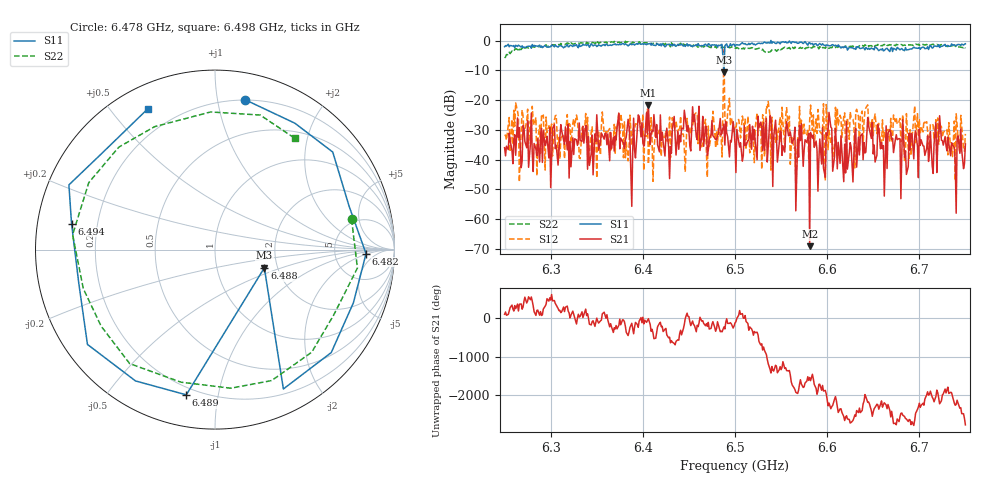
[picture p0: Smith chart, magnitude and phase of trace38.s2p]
# Hz S RI R 50
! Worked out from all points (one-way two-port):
!   401 points, 6.25 GHz to 6.75 GHz, reference 50 ohm
!   highest |S21| = -21.80 dB at 6.406 GHz (marker M1); lowest = -69.2 dB at 6.581 GHz (marker M2)
!   lowest |S11| = -10.7 dB at 6.488 GHz (marker M3), VSWR 1.83, Z = 85.3 - j18.9 ohm
!   |S11| at or under -10 dB: 6.487859 GHz to 6.488074 GHz (214.3 kHz wide, 0.0033 % of centre)
!   |S22| runs from -5.8 to -0.2 dB; largest |S21 - S12| = 0.74
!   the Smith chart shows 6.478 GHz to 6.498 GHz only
!   S11 on the Smith chart (normalised r, x): 6.478 GHz: 0.20, +1.20; 6.482 GHz: 11, -2; 6.488 GHz: 1.71, -0.38; 6.489 GHz: 0.16, -0.81; 6.494 GHz: 0.10, +0.09; 6.498 GHz: 0.10, +0.63
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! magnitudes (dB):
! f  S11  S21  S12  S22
! 6.25 GHz  -2.0  -36.0  -32.0  -5.8
! 6.262 GHz  -1.5  -38.6  -20.9  -2.7
! 6.334 GHz  -1.6  -33.9  -29.4  -0.7
! 6.384 GHz  -1.7  -26.4  -40.5  -0.4
! 6.39 GHz  -1.2  -26.1  -30.7  -0.7
! 6.406 GHz  -1.1  -21.8  -41.6  -0.9
! 6.418 GHz  -1.5  -37.4  -30.0  -1.5
! 6.478 GHz  -1.4  -32.7  -30.6  -2.2
! 6.482 GHz  -1.5  -31.4  -29.6  -2.0
! 6.488 GHz  -10.7  -28.0  -3.0  -2.3
! 6.489 GHz  -1.7  -35.1  -25.8  -2.3
! 6.494 GHz  -1.8  -39.1  -19.4  -2.3
! 6.498 GHz  -1.2  -27.2  -28.6  -2.3
! 6.5 GHz  -1.9  -34.7  -28.7  -2.4
! 6.554 GHz  -0.6  -37.5  -35.8  -2.2
! 6.564 GHz  -0.4  -32.6  -36.1  -2.6
! 6.581 GHz  -0.7  -69.2  -27.0  -2.8
! 6.584 GHz  -0.9  -32.8  -30.2  -2.3
! 6.602 GHz  -1.7  -24.1  -30.1  -2.6
! 6.62 GHz  -2.2  -44.5  -37.0  -1.8
! 6.668 GHz  -3.6  -30.0  -34.0  -1.3
! 6.75 GHz  -1.0  -34.7  -31.4  -2.5
